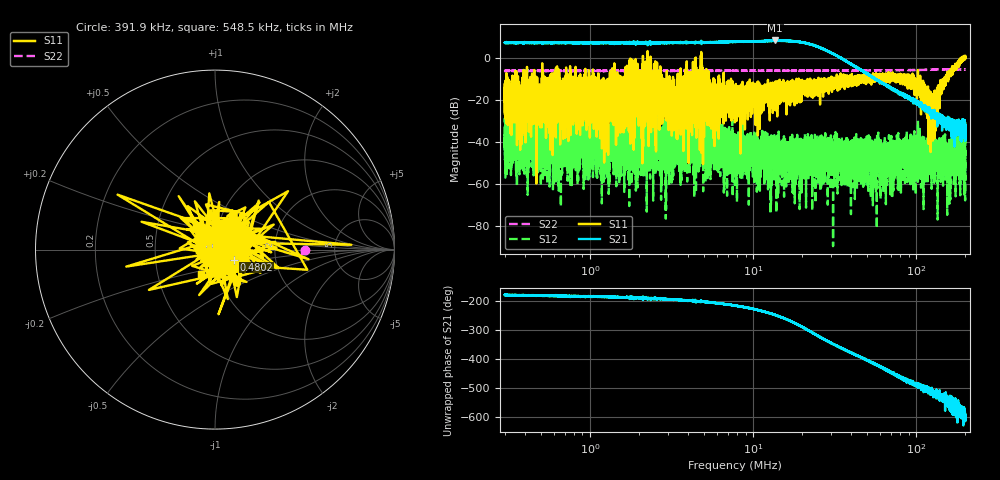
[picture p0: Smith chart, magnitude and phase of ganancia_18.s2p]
# Hz S DB R 50
! CMT, M5065, 19127446, 24.2.4/2
! Date: 11/1/2024 3:19:39 PM
! Data: Format (Calibration Info)
! Freq	S11:dB/Ang(F2)	S21:dB/Ang(F2)	S12:dB/Ang(F2)	S22:dB/Ang(F2)
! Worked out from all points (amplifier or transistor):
!   9000 points, 300 kHz to 200 MHz, reference 50 ohm
!   highest |S21| = 8.5 dB at 13.65 MHz (marker M1)
!   |S21| within 3 dB of that: start of sweep to 24.71 MHz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
!   unconditionally stable (mu >= 1): 2.514 MHz to 4.409 MHz; 4.836 MHz to 186.9 MHz; 187.1 MHz to 191.1 MHz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
!   at 886.8 kHz: K = 24.30, MAG = 8.7 dB, |S12| = -43.7 dB
!   at 7.749 MHz: K = 31.12, MAG = 9.2 dB, |S12| = -46.4 dB
!   at 200 MHz: K = -673.62, MSG = 12.3 dB, |S12| = -58.4 dB
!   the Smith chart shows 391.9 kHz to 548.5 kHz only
!   S11 on the Smith chart (normalised r, x): 391.9 kHz: 1.11, +0.17; 480.2 kHz: 1.23, -0.14; 548.5 kHz: 0.83, -0.23
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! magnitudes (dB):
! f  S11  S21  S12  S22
! 300 kHz  -26.4  7.4  -39.6  -6.0
! 310.6 kHz  -8.6  7.3  -39.2  -6.1
! 391.9 kHz  -20.3  7.3  -43.1  -6.0
! 480.2 kHz  -18.4  7.4  -54.5  -6.0
! 548.5 kHz  -16.1  7.5  -34.5  -6.1
! 886.8 kHz  -19.3  7.4  -43.7  -6.0
! 1.223 MHz  -21.7  7.3  -38.9  -6.1
! 1.368 MHz  -4.8  7.5  -22.6  -6.3
! 2.621 MHz  -14.5  7.4  -44.0  -6.1
! 3.589 MHz  -16.7  7.3  -38.5  -6.0
! 4.079 MHz  -22.1  7.4  -38.0  -6.0
! 4.325 MHz  -15.4  7.6  -53.4  -6.0
! 4.713 MHz  -43.8  7.6  -34.2  -5.9
! 7.749 MHz  -19.7  7.9  -46.4  -6.0
! 13.65 MHz  -11.7  8.5  -40.5  -6.0
! 22.91 MHz  -13.7  6.5  -42.0  -6.0
! 67.71 MHz  -9.9  -13.6  -48.9  -5.7
! 102.9 MHz  -15.0  -21.8  -48.3  -5.6
! 125.7 MHz  -19.7  -26.1  -51.4  -5.4
! 144.8 MHz  -12.5  -30.3  -51.1  -5.3
! 192.6 MHz  -0.5  -35.1  -42.7  -5.4
! 200 MHz  0.2  -33.9  -58.4  -5.4
